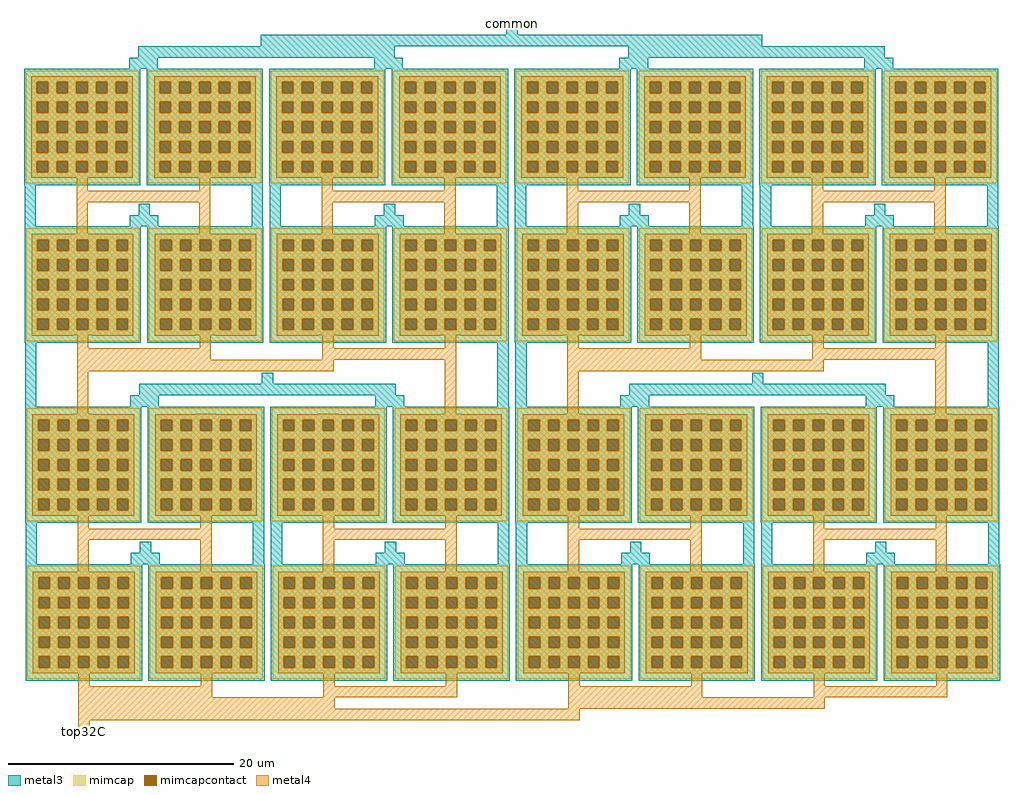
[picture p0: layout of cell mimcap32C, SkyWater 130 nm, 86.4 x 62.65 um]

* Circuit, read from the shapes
.subckt mimcap32C common top32C
XC1 top32C common sky130_fd_pr__cap_mim_m3_1 w=10 l=10 m=32
.ends

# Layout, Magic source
magic
tech sky130A
<< metal3 >>
rect 4270 6065 4370 6165
rect 2095 5965 6535 6065
<< metal4 >>
rect 480 0 4920 100
rect 480 -100 580 0
use mimcap16C  mimcap16C_0
transform 1 0 0 0 1 2990
box 0 -2990 4300 3075
use mimcap16C  mimcap16C_1
transform 1 0 4340 0 1 2990
box 0 -2990 4300 3075
<< labels >>
rlabel metal3 4325 6165 4325 6165 1 common
rlabel metal4 530 -100 530 -100 5 top32C
<< end >>

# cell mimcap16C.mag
magic
tech sky130A
<< metal3 >>
rect 2145 3065 2155 3075
rect 10 -215 110 350
rect 4190 -215 4290 350
<< metal4 >>
rect 470 -280 570 0
rect 3725 -280 3825 200
rect 525 -2990 535 -2980
use mimcap8C  mimcap8C_1
transform 1 0 10 0 1 -2890
box 0 -100 4290 2975
use mimcap8C  mimcap8C_0
transform 1 0 0 0 1 100
box 0 -100 4290 2975
<< labels >>
rlabel metal3 2150 3075 2150 3075 1 common
rlabel metal4 530 -2990 530 -2990 5 top16C
<< end >>

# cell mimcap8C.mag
magic
tech sky130A
<< metal3 >>
rect 2095 2875 2195 2975
rect 1010 2775 3280 2875
<< metal4 >>
rect 470 0 2740 100
rect 470 -100 570 0
use mimcap4C  mimcap4C_1
transform 1 0 2170 0 1 1395
box 0 -1395 2120 1480
use mimcap4C  mimcap4C_0
transform 1 0 0 0 1 1395
box 0 -1395 2120 1480
<< labels >>
rlabel metal3 2150 2975 2150 2975 1 common
rlabel metal4 520 -100 520 -100 5 top8C
<< end >>

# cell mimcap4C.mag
magic
tech sky130A
<< metal3 >>
rect 1060 1470 1070 1480
rect 5 -115 105 250
rect 2015 -115 2115 250
<< metal4 >>
rect 465 -180 565 0
rect 1550 -180 1650 100
rect 515 -1395 525 -1385
use mimcap2C  mimcap2C_1
transform 1 0 5 0 1 -1295
box 0 -100 2115 1380
use mimcap2C  mimcap2C_0
transform 1 0 0 0 1 100
box 0 -100 2115 1380
<< labels >>
rlabel metal3 1065 1480 1065 1480 1 common
rlabel metal4 520 -1395 520 -1395 5 top4C
<< end >>

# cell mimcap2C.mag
magic
tech sky130A
<< metal3 >>
rect 1010 1280 1110 1380
rect 930 1180 1185 1280
<< metal4 >>
rect 465 0 1650 100
rect 465 -100 565 0
use mimcap1C  mimcap1C_1
transform -1 0 1895 0 1 375
box -220 -375 810 905
use mimcap1C  mimcap1C_0
transform 1 0 220 0 1 375
box -220 -375 810 905
<< labels >>
rlabel metal4 515 -100 515 -100 5 top2C
rlabel metal3 1065 1380 1065 1380 1 common
<< end >>

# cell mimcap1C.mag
magic
tech sky130A
<< metal3 >>
rect 710 805 810 905
rect -220 -225 810 805
<< mimcap >>
rect -205 689 795 790
rect -205 589 -106 689
rect -6 589 69 689
rect 169 589 244 689
rect 344 589 419 689
rect 519 589 594 689
rect 694 589 795 689
rect -205 514 795 589
rect -205 414 -106 514
rect -6 414 69 514
rect 169 414 244 514
rect 344 414 419 514
rect 519 414 594 514
rect 694 414 795 514
rect -205 339 795 414
rect -205 239 -106 339
rect -6 239 69 339
rect 169 239 244 339
rect 344 239 419 339
rect 519 239 594 339
rect 694 239 795 339
rect -205 164 795 239
rect -205 64 -106 164
rect -6 64 69 164
rect 169 64 244 164
rect 344 64 419 164
rect 519 64 594 164
rect 694 64 795 164
rect -205 -11 795 64
rect -205 -111 -106 -11
rect -6 -111 69 -11
rect 169 -111 244 -11
rect 344 -111 419 -11
rect 519 -111 594 -11
rect 694 -111 795 -11
rect -205 -210 795 -111
<< mimcapcontact >>
rect -106 589 -6 689
rect 69 589 169 689
rect 244 589 344 689
rect 419 589 519 689
rect 594 589 694 689
rect -106 414 -6 514
rect 69 414 169 514
rect 244 414 344 514
rect 419 414 519 514
rect 594 414 694 514
rect -106 239 -6 339
rect 69 239 169 339
rect 244 239 344 339
rect 419 239 519 339
rect 594 239 694 339
rect -106 64 -6 164
rect 69 64 169 164
rect 244 64 344 164
rect 419 64 519 164
rect 594 64 694 164
rect -106 -111 -6 -11
rect 69 -111 169 -11
rect 244 -111 344 -11
rect 419 -111 519 -11
rect 594 -111 694 -11
<< metal4 >>
rect 207 739 383 740
rect -156 689 744 739
rect -156 589 -106 689
rect -6 589 69 689
rect 169 589 244 689
rect 344 589 419 689
rect 519 589 594 689
rect 694 589 744 689
rect -156 514 744 589
rect -156 414 -106 514
rect -6 414 69 514
rect 169 414 244 514
rect 344 414 419 514
rect 519 414 594 514
rect 694 414 744 514
rect -156 339 744 414
rect -156 239 -106 339
rect -6 239 69 339
rect 169 239 244 339
rect 344 239 419 339
rect 519 239 594 339
rect 694 239 744 339
rect -156 164 744 239
rect -156 64 -106 164
rect -6 64 69 164
rect 169 64 244 164
rect 344 64 419 164
rect 519 64 594 164
rect 694 64 744 164
rect -156 -11 744 64
rect -156 -111 -106 -11
rect -6 -111 69 -11
rect 169 -111 244 -11
rect 344 -111 419 -11
rect 519 -111 594 -11
rect 694 -111 744 -11
rect -156 -160 744 -111
rect -156 -161 205 -160
rect 245 -375 345 -160
rect 385 -161 744 -160
<< labels >>
rlabel metal4 295 -375 295 -375 5 top1C
rlabel metal3 765 905 765 905 1 common
<< end >>
